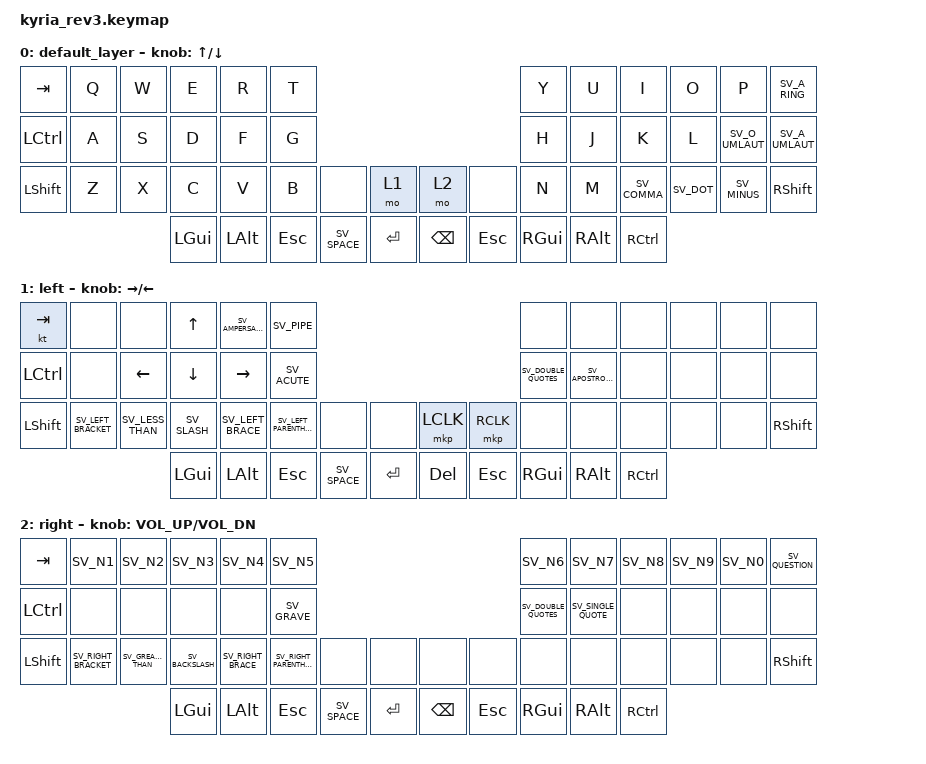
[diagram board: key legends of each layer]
/*
 * Copyright (c) 2023 The ZMK Contributors
 *
 * SPDX-License-Identifier: MIT
 */

#include "keys_sv.h"
#include <behaviors.dtsi>
#include <dt-bindings/zmk/bt.h>
#include <dt-bindings/zmk/keys.h>
#include <dt-bindings/zmk/mouse.h>

&led_strip {
    chain-length = <24>;
    // chain-length = <31>; // Uncomment if using both per-key and underglow LEDs
    // chain-length = <25>; // Uncomment if using only per-key LEDs.
};

&nice_view_spi {
    cs-gpios = <&gpio1 2 GPIO_ACTIVE_HIGH>;
};

/ {
    keymap {
        compatible = "zmk,keymap";

        default_layer {
            // ---------------------------------------------------------------------------------------------------------------------------------
            // |  ESC  |  Q  |  W  |  E   |  R   |  T   |                                          |  Y   |  U    |  I    |  O   |   P   |   \  |
            // |  TAB  |  A  |  S  |  D   |  F   |  G   |                                          |  H   |  J    |  K    |  L   |   ;   |   '  |
            // | SHIFT |  Z  |  X  |  C   |  V   |  B   | L SHIFT | L SHIFT |  | LAYER 1 | L SHIFT |  N   |  M    |  ,    |  .   |   /   | CTRL |
            //                     | GUI  | DEL  | RET  |  SPACE  |   ESC   |  |   RET   |  SPACE  | TAB  | BSPC  | R-ALT |

            bindings = <
&kp TAB     &kp Q  &kp W  &kp E     &kp R         &kp T                                                     &kp Y          &kp U     &kp I         &kp O       &kp P            &kp SV_A_RING
&kp LCTRL   &kp A  &kp S  &kp D     &kp F         &kp G                                                     &kp H          &kp J     &kp K         &kp L       &kp SV_O_UMLAUT  &kp SV_A_UMLAUT
&kp LSHIFT  &kp Z  &kp X  &kp C     &kp V         &kp B    &none         &mo 1      &mo 2          &none    &kp N          &kp M     &kp SV_COMMA  &kp SV_DOT  &kp SV_MINUS     &kp RIGHT_SHIFT
                          &kp LGUI  &kp LEFT_ALT  &kp ESC  &kp SV_SPACE  &kp ENTER  &kp BACKSPACE  &kp ESC  &kp RIGHT_GUI  &kp RALT  &kp RCTRL
            >;

            sensor-bindings = <&inc_dec_kp UP DOWN_ARROW>;
        };

        left {
            // ---------------------------------------------------------------------------------------------------------------------------------
            // |       |      |BT_CLR|BTSEL0|BTSEL1|BTSEL2|                                         |      |      |      |      |      |      |
            // |       |      |      |BTSEL3|BTSEL4|      |                                         |      |      |      |      |      |      |
            // |       |      |      |      |      |      |      |      |      |      |      |      |      |      |      |      |      |      |
            //                       |      |      |      |      |      |      |      |      |      |      |      |      |

            bindings = <
&kt TAB         &none                &none             &kp UP          &kp SV_AMPERSAND   &kp SV_PIPE                                                             &none                 &none              &none      &none  &none  &none
&kp LCTRL       &none                &kp LEFT_ARROW    &kp DOWN_ARROW  &kp RIGHT          &kp SV_ACUTE                                                            &kp SV_DOUBLE_QUOTES  &kp SV_APOSTROPHE  &none      &none  &none  &none
&kp LEFT_SHIFT  &kp SV_LEFT_BRACKET  &kp SV_LESS_THAN  &kp SV_SLASH    &kp SV_LEFT_BRACE  &kp SV_LEFT_PARENTHESIS  &none         &none      &mkp LCLK  &mkp RCLK  &none                 &none              &none      &none  &none  &kp RSHFT
                                                       &kp LEFT_GUI    &kp LEFT_ALT       &kp ESC                  &kp SV_SPACE  &kp ENTER  &kp DEL    &kp ESC    &kp RIGHT_GUI         &kp RALT           &kp RCTRL
            >;

            sensor-bindings = <&inc_dec_kp RIGHT LEFT_ARROW>;
        };

        right {
            bindings = <
&kp TAB         &kp SV_N1             &kp SV_N2            &kp SV_N3         &kp SV_N4           &kp SV_N5                                                                   &kp SV_N6             &kp SV_N7            &kp SV_N8  &kp SV_N9  &kp SV_N0  &kp SV_QUESTION
&kp LCTRL       &none                 &none                &none             &none               &kp SV_GRAVE                                                                &kp SV_DOUBLE_QUOTES  &kp SV_SINGLE_QUOTE  &none      &none      &none      &none
&kp LEFT_SHIFT  &kp SV_RIGHT_BRACKET  &kp SV_GREATER_THAN  &kp SV_BACKSLASH  &kp SV_RIGHT_BRACE  &kp SV_RIGHT_PARENTHESIS  &none         &none       &none          &none    &none                 &none                &none      &none      &none      &kp RIGHT_SHIFT
                                                           &kp LGUI          &kp LEFT_ALT        &kp ESC                   &kp SV_SPACE  &kp RETURN  &kp BACKSPACE  &kp ESC  &kp RGUI              &kp RIGHT_ALT        &kp RCTRL
            >;

            sensor-bindings = <&inc_dec_kp C_VOL_UP C_VOL_DN>;
        };
    };
};
